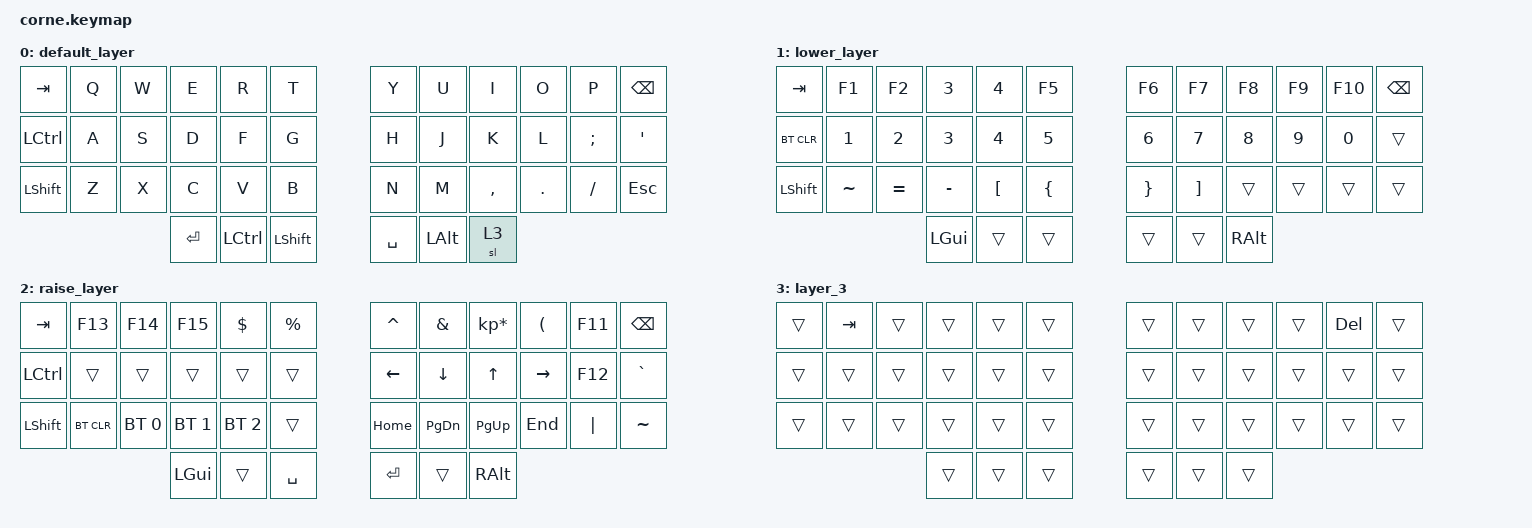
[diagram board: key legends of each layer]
/*
 * Copyright (c) 2020 The ZMK Contributors
 *
 * SPDX-License-Identifier: MIT
 */

#include <behaviors.dtsi>
#include <dt-bindings/zmk/bt.h>
#include <dt-bindings/zmk/keys.h>

/ {
    combos {
        compatible = "zmk,combos";

        num {
            bindings = <&sl 1>;
            key-positions = <37 40>;
        };

        nav {
            bindings = <&sl 2>;
            key-positions = <15 16>;
        };

        Backspace {
            bindings = <&kp BACKSPACE>;
            key-positions = <20 19>;
        };

        Super-backspace {
            bindings = <&kp LC(BACKSPACE)>;
            key-positions = <19 21 20>;
        };

        esc {
            bindings = <&kp ESC>;
            key-positions = <31 32>;
        };
    };

    keymap {
        compatible = "zmk,keymap";

        default_layer {
            // -----------------------------------------------------------------------------------------
            // |  TAB |  Q  |  W  |  E  |  R  |  T  |   |  Y  |  U   |  I  |  O  |  P  | BKSP |
            // | CTRL |  A  |  S  |  D  |  F  |  G  |   |  H  |  J   |  K  |  L  |  ;  |  '   |
            // | SHFT |  Z  |  X  |  C  |  V  |  B  |   |  N  |  M   |  ,  |  .  |  /  | ESC  |
            //                    | GUI | LWR | SPC |   | ENT | RSE  | ALT |

            bindings = <
&kp TAB    &kp Q  &kp W  &kp E      &kp R      &kp T             &kp Y      &kp U         &kp I      &kp O    &kp P     &kp BSPC
&kp LCTRL  &kp A  &kp S  &kp D      &kp F      &kp G             &kp H      &kp J         &kp K      &kp L    &kp SEMI  &kp SQT
&kp LSHFT  &kp Z  &kp X  &kp C      &kp V      &kp B             &kp N      &kp M         &kp COMMA  &kp DOT  &kp FSLH  &kp ESC
                         &kp ENTER  &kp LCTRL  &kp LEFT_SHIFT    &kp SPACE  &kp LEFT_ALT  &sl 3
            >;
        };

        lower_layer {
            // -----------------------------------------------------------------------------------------
            // |  TAB |  1  |  2  |  3  |  4  |  5  |   |  6  |  7  |  8  |  9  |  0  | BKSP |
            // | BTCLR| BT1 | BT2 | BT3 | BT4 | BT5 |   | LFT | DWN |  UP | RGT |     |      |
            // | SHFT |     |     |     |     |     |   |     |     |     |     |     |      |
            //                    | GUI |     | SPC |   | ENT |     | ALT |

            bindings = <
&kp TAB     &kp F1        &kp F2        &kp N3        &kp N4            &kp F5            &kp F6           &kp F7             &kp F8        &kp F9        &kp F10       &kp BSPC
&bt BT_CLR  &kp NUMBER_1  &kp NUMBER_2  &kp NUMBER_3  &kp NUMBER_4      &kp NUMBER_5      &kp NUMBER_6     &kp NUMBER_7       &kp NUMBER_8  &kp NUMBER_9  &kp NUMBER_0  &trans
&kp LSHFT   &kp TILDE     &kp EQUAL     &kp MINUS     &kp LEFT_BRACKET  &kp LEFT_BRACE    &kp RIGHT_BRACE  &kp RIGHT_BRACKET  &trans        &trans        &trans        &trans
                                        &kp LGUI      &trans            &trans            &trans           &trans             &kp RALT
            >;
        };

        raise_layer {
            // -----------------------------------------------------------------------------------------
            // |  TAB |  !  |  @  |  #  |  $  |  %  |   |  ^  |  &  |  *  |  (  |  )  | BKSP |
            // | CTRL |     |     |     |     |     |   |  -  |  =  |  [  |  ]  |  \  |  `   |
            // | SHFT |     |     |     |     |     |   |  _  |  +  |  {  |  }  | "|" |  ~   |
            //                    | GUI |     | SPC |   | ENT |     | ALT |

            bindings = <
&kp TAB    &kp F13     &kp F14       &kp F15       &kp DLLR      &kp PRCNT    &kp CARET  &kp AMPS       &kp KP_MULTIPLY  &kp LPAR   &kp F11   &kp BSPC
&kp LCTRL  &trans      &trans        &trans        &trans        &trans       &kp LEFT   &kp DOWN       &kp UP_ARROW     &kp RIGHT  &kp F12   &kp GRAVE
&kp LSHFT  &bt BT_CLR  &bt BT_SEL 0  &bt BT_SEL 1  &bt BT_SEL 2  &trans       &kp HOME   &kp PAGE_DOWN  &kp PG_UP        &kp END    &kp PIPE  &kp TILDE
                                     &kp LGUI      &trans        &kp SPACE    &kp RET    &trans         &kp RALT
            >;
        };

        layer_3 {
            bindings = <
&trans  &kp TAB  &trans  &trans  &trans  &trans    &trans  &trans  &trans  &trans  &kp DELETE  &trans
&trans  &trans   &trans  &trans  &trans  &trans    &trans  &trans  &trans  &trans  &trans      &trans
&trans  &trans   &trans  &trans  &trans  &trans    &trans  &trans  &trans  &trans  &trans      &trans
                         &trans  &trans  &trans    &trans  &trans  &trans
            >;
        };
    };
};
